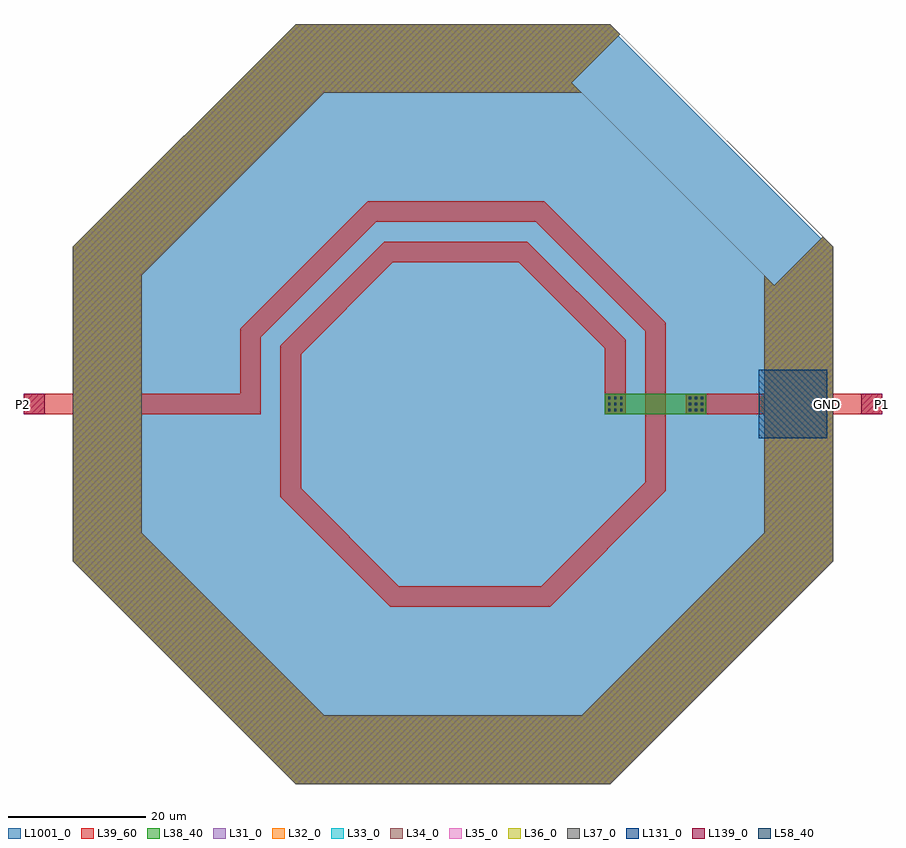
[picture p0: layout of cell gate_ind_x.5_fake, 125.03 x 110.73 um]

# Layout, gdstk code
import gdstk
lib = gdstk.Library(unit=1e-6, precision=1e-09)
def R(c, l, rs):  # rectangles x0, y0, x1, y1
    for r in rs: c.add(gdstk.rectangle(r[:2], r[2:], *l))
def A(c, l, x, y, w, h, nx, ny, dx, dy):  # array of equal rectangles
    R(c, l, [(x+i*dx, y+j*dy, x+i*dx+w, y+j*dy+h) for i in range(nx) for j in range(ny)])
def P(c, l, *ps):  # polygons
    for p in ps: c.add(gdstk.Polygon(p, *l))
L31_0 = (31, 0)
L32_0 = (32, 0)
L33_0 = (33, 0)
L34_0 = (34, 0)
L35_0 = (35, 0)
L36_0 = (36, 0)
L37_0 = (37, 0)
L38_40 = (38, 40)
L39_60 = (39, 60)
L58_40 = (58, 40)
L131_0 = (131, 0)
L139_0 = (139, 0)
L1001_0 = (1001, 0)

gate_ind_x_5_fake = lib.new_cell('gate_ind_x.5_fake')
P(gate_ind_x_5_fake, L31_0, [(46.831,17.327),(53.903,24.398),(22.934,55.367),(-22.934,55.367),(-55.367,22.934),(-55.367,-22.934),(-22.934,-55.367),(22.934,-55.367),(55.367,-22.934),(55.367,22.934),(24.398,53.903),(17.327,46.831),(45.367,18.792),(45.367,-18.792),(18.792,-45.367),(-18.792,-45.367),(-45.367,-18.792),(-45.367,18.792),(-18.792,45.367),(18.792,45.367)])
P(gate_ind_x_5_fake, L32_0, [(46.831,17.327),(53.903,24.398),(22.934,55.367),(-22.934,55.367),(-55.367,22.934),(-55.367,-22.934),(-22.934,-55.367),(22.934,-55.367),(55.367,-22.934),(55.367,22.934),(24.398,53.903),(17.327,46.831),(45.367,18.792),(45.367,-18.792),(18.792,-45.367),(-18.792,-45.367),(-45.367,-18.792),(-45.367,18.792),(-18.792,45.367),(18.792,45.367)])
P(gate_ind_x_5_fake, L33_0, [(46.831,17.327),(53.903,24.398),(22.934,55.367),(-22.934,55.367),(-55.367,22.934),(-55.367,-22.934),(-22.934,-55.367),(22.934,-55.367),(55.367,-22.934),(55.367,22.934),(24.398,53.903),(17.327,46.831),(45.367,18.792),(45.367,-18.792),(18.792,-45.367),(-18.792,-45.367),(-45.367,-18.792),(-45.367,18.792),(-18.792,45.367),(18.792,45.367)])
P(gate_ind_x_5_fake, L34_0, [(46.831,17.327),(53.903,24.398),(22.934,55.367),(-22.934,55.367),(-55.367,22.934),(-55.367,-22.934),(-22.934,-55.367),(22.934,-55.367),(55.367,-22.934),(55.367,22.934),(24.398,53.903),(17.327,46.831),(45.367,18.792),(45.367,-18.792),(18.792,-45.367),(-18.792,-45.367),(-45.367,-18.792),(-45.367,18.792),(-18.792,45.367),(18.792,45.367)])
P(gate_ind_x_5_fake, L35_0, [(46.831,17.327),(53.903,24.398),(22.934,55.367),(-22.934,55.367),(-55.367,22.934),(-55.367,-22.934),(-22.934,-55.367),(22.934,-55.367),(55.367,-22.934),(55.367,22.934),(24.398,53.903),(17.327,46.831),(45.367,18.792),(45.367,-18.792),(18.792,-45.367),(-18.792,-45.367),(-45.367,-18.792),(-45.367,18.792),(-18.792,45.367),(18.792,45.367)])
P(gate_ind_x_5_fake, L36_0, [(46.831,17.327),(53.903,24.398),(22.934,55.367),(-22.934,55.367),(-55.367,22.934),(-55.367,-22.934),(-22.934,-55.367),(22.934,-55.367),(55.367,-22.934),(55.367,22.934),(24.398,53.903),(17.327,46.831),(45.367,18.792),(45.367,-18.792),(18.792,-45.367),(-18.792,-45.367),(-45.367,-18.792),(-45.367,18.792),(-18.792,45.367),(18.792,45.367)])
P(gate_ind_x_5_fake, L37_0, [(46.831,17.327),(53.903,24.398),(22.934,55.367),(-22.934,55.367),(-55.367,22.934),(-55.367,-22.934),(-22.934,-55.367),(22.934,-55.367),(55.367,-22.934),(55.367,22.934),(24.398,53.903),(17.327,46.831),(45.367,18.792),(45.367,-18.792),(18.792,-45.367),(-18.792,-45.367),(-45.367,-18.792),(-45.367,18.792),(-18.792,45.367),(18.792,45.367)])
R(gate_ind_x_5_fake, L38_40, [(22.14,-1.5,36.89,1.5)])
P(gate_ind_x_5_fake, L38_40, [(46.831,17.327),(53.903,24.398),(22.934,55.367),(-22.934,55.367),(-55.367,22.934),(-55.367,-22.934),(-22.934,-55.367),(22.934,-55.367),(55.367,-22.934),(55.367,22.934),(24.398,53.903),(17.327,46.831),(45.367,18.792),(45.367,-18.792),(18.792,-45.367),(-18.792,-45.367),(-45.367,-18.792),(-45.367,18.792),(-18.792,45.367),(18.792,45.367)])
R(gate_ind_x_5_fake, L39_60, [(-62.515,-1.5,-28.015,1.5), (33.89,-1.5,62.515,1.5)])
P(gate_ind_x_5_fake, L39_60, [(22.14,-1.5),(25.14,-1.5),(25.14,9.376),(10.846,23.675),(-9.986,23.675),(-25.14,8.516),(-25.14,-13.531),(-9.121,-29.55),(14.136,-29.55),(31.015,-12.671),(31.015,11.811),(13.276,29.55),(-12.416,29.55),(-31.015,10.946),(-31.015,0),(-28.015,0),(-28.015,9.704),(-11.174,26.55),(12.034,26.55),(28.015,10.569),(28.015,-11.429),(12.894,-26.55),(-7.879,-26.55),(-22.14,-12.289),(-22.14,7.274),(-8.744,20.675),(9.604,20.675),(22.14,8.134)],
  [(46.831,17.327),(53.903,24.398),(22.934,55.367),(-22.934,55.367),(-55.367,22.934),(-55.367,-22.934),(-22.934,-55.367),(22.934,-55.367),(55.367,-22.934),(55.367,22.934),(24.398,53.903),(17.327,46.831),(45.367,18.792),(45.367,-18.792),(18.792,-45.367),(-18.792,-45.367),(-45.367,-18.792),(-45.367,18.792),(-18.792,45.367),(18.792,45.367)])
A(gate_ind_x_5_fake, L58_40, 22.597, -1.045, 0.35, 0.35, 3, 3, 0.87, 0.87)
A(gate_ind_x_5_fake, L58_40, 34.347, -1.045, 0.35, 0.35, 3, 3, 0.87, 0.87)
R(gate_ind_x_5_fake, L131_0, [(44.515,-5,54.515,5)])
R(gate_ind_x_5_fake, L139_0, [(-62.515,-1.5,-59.515,1.5), (59.515,-1.5,62.515,1.5)])
P(gate_ind_x_5_fake, L1001_0, [(54.986,22.776),(22.776,54.986),(-22.776,54.986),(-54.986,22.776),(-54.986,-22.776),(-22.776,-54.986),(22.776,-54.986),(54.986,-22.776)],
  [(54.986,22.776),(22.776,54.986),(-22.776,54.986),(-54.986,22.776),(-54.986,-22.776),(-22.776,-54.986),(22.776,-54.986),(54.986,-22.776)],
  [(54.986,22.776),(22.776,54.986),(-22.776,54.986),(-54.986,22.776),(-54.986,-22.776),(-22.776,-54.986),(22.776,-54.986),(54.986,-22.776)],
  [(54.986,22.776),(22.776,54.986),(-22.776,54.986),(-54.986,22.776),(-54.986,-22.776),(-22.776,-54.986),(22.776,-54.986),(54.986,-22.776)],
  [(54.986,22.776),(22.776,54.986),(-22.776,54.986),(-54.986,22.776),(-54.986,-22.776),(-22.776,-54.986),(22.776,-54.986),(54.986,-22.776)],
  [(54.986,22.776),(22.776,54.986),(-22.776,54.986),(-54.986,22.776),(-54.986,-22.776),(-22.776,-54.986),(22.776,-54.986),(54.986,-22.776)],
  [(54.986,22.776),(22.776,54.986),(-22.776,54.986),(-54.986,22.776),(-54.986,-22.776),(-22.776,-54.986),(22.776,-54.986),(54.986,-22.776)],
  [(54.986,22.776),(22.776,54.986),(-22.776,54.986),(-54.986,22.776),(-54.986,-22.776),(-22.776,-54.986),(22.776,-54.986),(54.986,-22.776)],
  [(54.986,22.776),(22.776,54.986),(-22.776,54.986),(-54.986,22.776),(-54.986,-22.776),(-22.776,-54.986),(22.776,-54.986),(54.986,-22.776)])
gate_ind_x_5_fake.add(gdstk.Label('P1', (62.517,0), layer=139, texttype=0))
gate_ind_x_5_fake.add(gdstk.Label('P2', (-62.517,0), layer=139, texttype=0))
gate_ind_x_5_fake.add(gdstk.Label('GND', (54.517,0), layer=131, texttype=0))

lib.write_gds('gate_ind_x.5_fake.gds')
